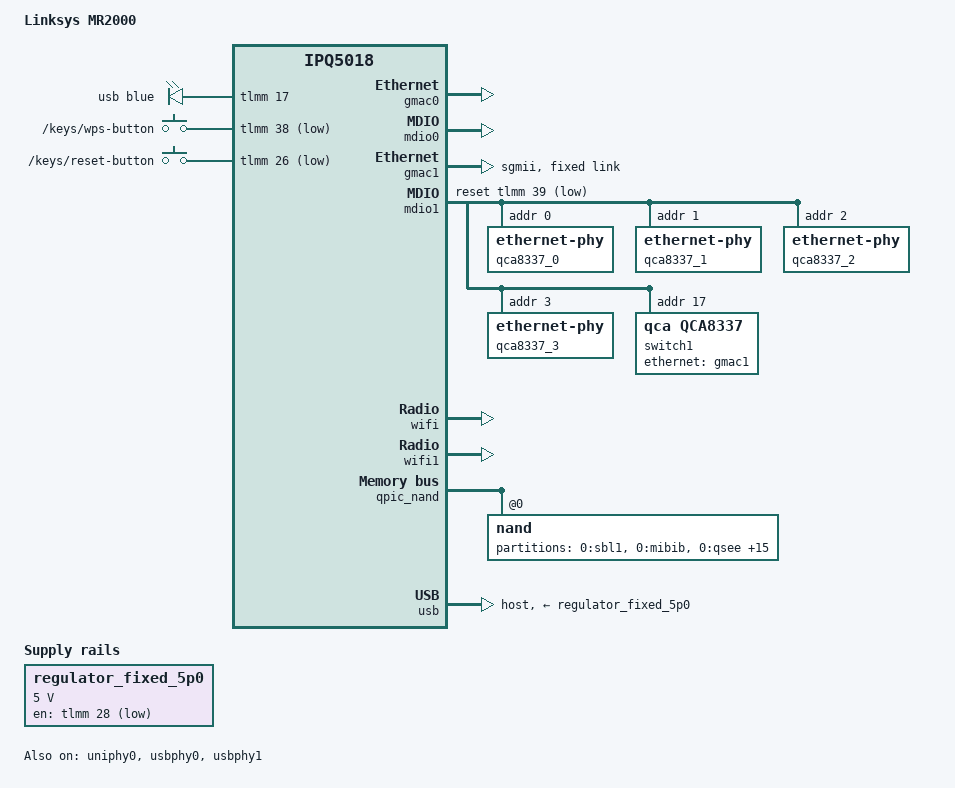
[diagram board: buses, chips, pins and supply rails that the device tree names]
/dts-v1/;

#include "ipq5018.dtsi"
#include "ipq5018-ess.dtsi"
#include "ipq5018-mx-base.dtsi"
#include "ipq5018-qcn6122.dtsi"

/ {
	model = "Linksys MR2000";
	compatible = "linksys,mr2000", "qcom,ipq5018";

	chosen {
		bootargs-append = " root=/dev/ubiblock0_0 coherent_pool=2M";
		stdout-path = "serial0:115200n8";
	};

	gpio-leds {
		compatible = "gpio-leds";

		usb {
			color = <LED_COLOR_ID_BLUE>;
			function = LED_FUNCTION_USB;
			gpios = <&tlmm 17 GPIO_ACTIVE_HIGH>;
			trigger-sources = <&usb_port1>;
			linux,default-trigger = "usbport";
		};
	};

	regulator_fixed_5p0: regulator-s0500 {
		compatible = "regulator-fixed";
		regulator-min-microvolt = <5000000>;
		regulator-max-microvolt = <5000000>;
		regulator-name = "fixed_5p0";
		gpios = <&tlmm 28 GPIO_ACTIVE_LOW>;
	};
};

/*
 * ===============================================================
 *     _______________________         _______________________
 *    |        IPQ5018        |       |        QCA8337        |
 *    | +------+   +--------+ |       | +--------+   +------+ |
 *    | | MAC0 |---| GE Phy | |       | |  Phy0  |---| MAC1 | |
 *    | +------+   +--------+ |       | +--------+   +------+ |
 *    | +------+   +--------+ |       | +--------+   +------+ |
 *    | | MAC1 |---| Uniphy |-+-SGMII-+-| SerDes |---| MAC6 | |
 *    | +------+   +--------+ |       | +--------+   +------+ |
 *    |_______________________|       |_______________________|
 *
 * ===============================================================
 */

&uniphy0 {
	status = "okay";

	assigned-clocks = <&uniphy0 UNIPHY_CLK_REF>;
	assigned-clock-rates = <UNIPHY_REFCLK_25MHZ>;
};

/* WAN: IPQ5018 MAC0 -> internal GE PHY7 */
&gmac0 {
	status = "okay";
	label = "wan";

	nvmem-cells = <&hw_mac_addr 0>;
	nvmem-cell-names = "mac-address";
};

&mdio0 {
	status = "okay";
};

/* LAN: IPQ5018 MAC1 -> SGMII -> QCA8337 port 6 */
&gmac1 {
	status = "okay";
	phy-mode = "sgmii";

	nvmem-cells = <&hw_mac_addr 0>;
	nvmem-cell-names = "mac-address";

	fixed-link {
		speed = <1000>;
		full-duplex;
	};
};

&mdio1 {
	status = "okay";

	pinctrl-0 = <&mdio1_pins>;
	pinctrl-names = "default";
	reset-gpios = <&tlmm 39 GPIO_ACTIVE_LOW>;

	qca8337_0: ethernet-phy@0 {
		reg = <0>;
	};

	qca8337_1: ethernet-phy@1 {
		reg = <1>;
	};

	qca8337_2: ethernet-phy@2 {
		reg = <2>;
	};

	qca8337_3: ethernet-phy@3 {
		reg = <3>;
	};

	switch1: ethernet-switch@17 {
		compatible = "qca,qca8337";
		reg = <17>;
		#address-cells = <1>;
		#size-cells = <0>;

		ethernet-ports {
			#address-cells = <1>;
			#size-cells = <0>;

			ethernet-port@1 {
				reg = <1>;
				label = "lan1";
				phy-handle = <&qca8337_0>;
			};

			ethernet-port@2 {
				reg = <2>;
				label = "lan2";
				phy-handle = <&qca8337_1>;
			};

			ethernet-port@3 {
				reg = <3>;
				label = "lan3";
				phy-handle = <&qca8337_2>;
			};

			ethernet-port@4 {
				reg = <4>;
				label = "lan4";
				phy-handle = <&qca8337_3>;
			};

			ethernet-port@6 {
				reg = <6>;
				label = "cpu";
				phy-mode = "sgmii";
				ethernet = <&gmac1>;
				qca,sgmii-enable-pll;

				fixed-link {
					speed = <1000>;
					full-duplex;
				};
			};
		};
	};
};

&q6v5_wcss {
	/* The QCN6102 radio should map to UPD ID 2. Without       */
	/* bootargs, the firmware will expect it to be on UPD ID 3 */
	boot-args = <
			/*       type:	*/	0x1	/* PCIE0	*/
			/*     length:	*/	4
			/*     UPD ID:	*/	2
			/* reset GPIO:	*/	15
			/*   reserved:	*/	0 0>;
};

&wifi {
	status = "okay";

	qcom,rproc = <&q6_wcss_pd1>;
	qcom,ath11k-calibration-variant = "Linksys-MX2000";
	qcom,ath11k-fw-memory-mode = <1>;
	qcom,bdf-addr = <0x4c400000>;
};

&wifi1 {
	status = "okay";

	qcom,rproc = <&q6_wcss_pd2>;
	qcom,userpd-subsys-name = "q6v5_wcss_userpd2";
	qcom,ath11k-calibration-variant = "Linksys-MX2000";
	qcom,ath11k-fw-memory-mode = <1>;
	qcom,bdf-addr = <0x4d100000>;
	qcom,m3-dump-addr = <0x4df00000>;
};

&{/keys/wps-button} {
	gpios = <&tlmm 38 GPIO_ACTIVE_LOW>;
};

&{/keys/reset-button} {
	gpios = <&tlmm 26 GPIO_ACTIVE_LOW>;
};

&{/leds/green} {
	color = <LED_COLOR_ID_BLUE>;
};

&{/leds/blue} {
	color = <LED_COLOR_ID_GREEN>;
};

&tlmm {
	button_pins: button-state {
		pins = "gpio26", "gpio38";
		function = "gpio";
		drive-strength = <8>;
		bias-pull-up;
	};
};

&qpic_nand {
	nand@0 {
		partitions {
			compatible = "fixed-partitions";
			#address-cells = <1>;
			#size-cells = <1>;

			/delete-node/ partition-devinfo;

			partition@0 {
				label = "0:sbl1";
				reg = <0x0000000 0x0080000>;
				read-only;
			};

			partition@80000 {
				label = "0:mibib";
				reg = <0x0080000 0x0080000>;
				read-only;
			};

			partition@100000 {
				label = "0:qsee";
				reg = <0x0100000 0x0100000>;
				read-only;
			};

			partition@200000 {
				label = "0:devcfg";
				reg = <0x0200000 0x0040000>;
				read-only;
			};

			partition@240000 {
				label = "0:cdt";
				reg = <0x0240000 0x0040000>;
				read-only;
			};

			partition@280000 {
				label = "0:appsblenv";
				reg = <0x0280000 0x0080000>;
			};

			partition@300000 {
				label = "0:appsbl";
				reg = <0x0300000 0x0140000>;
				read-only;
			};

			partition@440000 {
				label = "0:art";
				reg = <0x0440000 0x0100000>;
				read-only;
			};

			partition@540000 {
				label = "TRAINING";
				reg = <0x0540000 0x0080000>;
				read-only;
			};

			partition@5c0000 {
				label = "u_env";
				reg = <0x05c0000 0x0080000>;
			};

			partition@640000 {
				label = "s_env";
				reg = <0x0640000 0x0040000>;
			};

			devinfo: partition@680000 {
				label = "devinfo";
				reg = <0x0680000 0x0040000>;
				read-only;

				nvmem-layout {
					compatible = "ascii-eq-delim-env";

					hw_mac_addr: hw_mac_addr {
						compatible = "mac-base";
						#nvmem-cell-cells = <1>;
					};
				};
			};

			partition@6c0000 {
				label = "kernel";
				reg = <0x06c0000 0x05200000>;
			};

			partition@ec0000 {
				label = "rootfs";
				reg = <0x0ec0000 0x04a00000>;
			};

			partition@58c0000 {
				label = "alt_kernel";
				reg = <0x58c0000 0x05200000>;
			};

			partition@60c0000 {
				label = "alt_rootfs";
				reg = <0x60c0000 0x04a00000>;
			};

			partition@aac0000 {
				label = "sysdiag";
				reg = <0x0aac0000 0x00200000>;
			};

			partition@acc0000 {
				label = "syscfg";
				reg = <0x0acc0000 0x04400000>;
			};
		};
	};
};

&usbphy0 {
	status = "okay";
	vdd-supply = <&regulator_fixed_5p0>;
};

&usbphy1 {
	status = "okay";
	vdd-supply = <&regulator_fixed_5p0>;
};

&usb {
	#address-cells = <1>;
	#size-cells = <0>;

	vbus-supply = <&regulator_fixed_5p0>;
	dr_mode = "host";

	status = "okay";

	usb_port1: port@1 {
		reg = <1>;
		#trigger-source-cells = <0>;
	};
};
